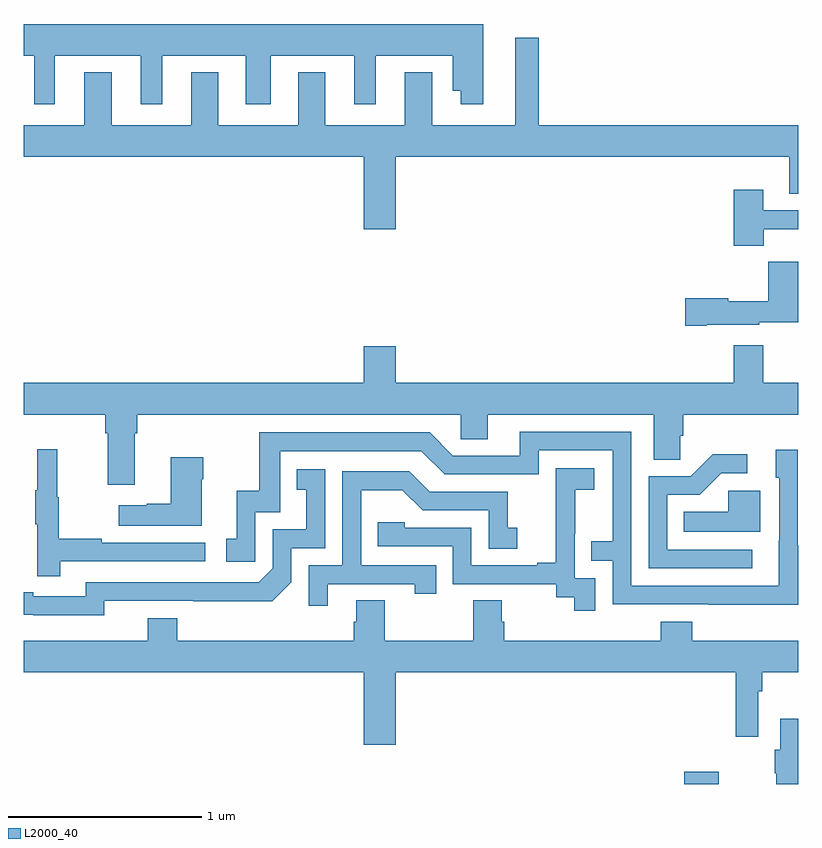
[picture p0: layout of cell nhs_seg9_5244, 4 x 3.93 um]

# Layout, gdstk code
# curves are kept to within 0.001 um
import gdstk
lib = gdstk.Library(unit=1e-6, precision=1e-09)
def R(c, l, rs):  # rectangles x0, y0, x1, y1
    for r in rs: c.add(gdstk.rectangle(r[:2], r[2:], *l))
def P(c, l, *ps):  # polygons
    for p in ps: c.add(gdstk.Polygon(p, *l))
L2000_40 = (2000, 40)

nhs_seg9_5244 = lib.new_cell('nhs_seg9_5244')
R(nhs_seg9_5244, L2000_40, [(418.412,1206.5,418.59,1206.562)])
P(nhs_seg9_5244, L2000_40, [(415.159,1210.262),(415.604,1210.262),(415.604,1210.011),(415.714,1210.011),(415.714,1210.262),(416.147,1210.262),(416.147,1210.011),(416.275,1210.011),(416.275,1210.262),(416.708,1210.262),(416.708,1210.011),(416.818,1210.011),(416.818,1210.262),(417.215,1210.262),(417.215,1210.082),(417.257,1210.082),(417.257,1210.011),(417.373,1210.011),(417.373,1210.426),(415,1210.426),(415,1210.262),(415.055,1210.262),(415.055,1210.011),(415.159,1210.011)],
  [(418.955,1209.55),(419,1209.55),(419,1209.904),(417.661,1209.904),(417.661,1210.354),(417.539,1210.354),(417.539,1209.904),(417.109,1209.904),(417.109,1210.177),(416.969,1210.177),(416.969,1209.904),(416.557,1209.904),(416.557,1210.177),(416.417,1210.177),(416.417,1209.904),(416.005,1209.904),(416.005,1210.177),(415.865,1210.177),(415.865,1209.904),(415.453,1209.904),(415.453,1210.177),(415.313,1210.177),(415.313,1209.904),(415,1209.904),(415,1209.74),(416.756,1209.74),(416.756,1209.366),(416.92,1209.366),(416.92,1209.74),(418.955,1209.74)],
  [(418.822,1209.366),(419,1209.366),(419,1209.465),(418.819,1209.465),(418.819,1209.571),(418.667,1209.571),(418.667,1209.281),(418.822,1209.281)],
  [(418.528,1208.873),(418.8,1208.873),(418.8,1208.885),(419,1208.885),(419,1209.199),(418.846,1209.199),(418.846,1208.995),(418.638,1208.995),(418.638,1209.008),(418.416,1209.008),(418.416,1208.866),(418.528,1208.866)],
  [(415,1208.408),(415.421,1208.408),(415.421,1208.312),(415.433,1208.312),(415.433,1208.046),(415.573,1208.046),(415.573,1208.312),(415.586,1208.312),(415.586,1208.408),(417.258,1208.408),(417.258,1208.281),(417.397,1208.281),(417.397,1208.408),(418.253,1208.408),(418.253,1208.176),(418.392,1208.176),(418.392,1208.299),(418.406,1208.299),(418.406,1208.408),(419,1208.408),(419,1208.572),(418.819,1208.572),(418.819,1208.767),(418.667,1208.767),(418.667,1208.572),(416.92,1208.572),(416.92,1208.761),(416.756,1208.761),(416.756,1208.572),(415,1208.572)],
  [(419,1207.733),(418.998,1207.733),(418.998,1208.227),(418.883,1208.227),(418.883,1208.082),(418.902,1208.082),(418.901,1207.524),(418.137,1207.524),(418.137,1208.319),(417.563,1208.319),(417.563,1208.196),(417.216,1208.196),(417.096,1208.316),(416.217,1208.316),(416.217,1208.014),(416.099,1208.014),(416.099,1207.767),(416.046,1207.767),(416.046,1207.647),(416.196,1207.647),(416.196,1207.905),(416.325,1207.905),(416.325,1208.22),(417.054,1208.22),(417.174,1208.1),(417.66,1208.1),(417.66,1208.223),(418.041,1208.223),(418.041,1207.754),(417.931,1207.754),(417.931,1207.653),(418.041,1207.653),(418.041,1207.428),(419,1207.427)],
  [(415.187,1207.65),(415.936,1207.65),(415.936,1207.746),(415.403,1207.746),(415.403,1207.766),(415.18,1207.766),(415.18,1207.98),(415.172,1207.98),(415.172,1208.23),(415.07,1208.23),(415.07,1208.017),(415.059,1208.017),(415.059,1207.843),(415.07,1207.843),(415.07,1207.572),(415.187,1207.572)],
  [(418.762,1207.71),(418.323,1207.71),(418.323,1207.995),(418.492,1207.995),(418.603,1208.106),(418.738,1208.106),(418.738,1208.204),(418.559,1208.204),(418.446,1208.091),(418.227,1208.091),(418.227,1207.614),(418.762,1207.614)],
  [(415.918,1208.075),(415.926,1208.075),(415.926,1208.188),(415.76,1208.188),(415.76,1207.949),(415.634,1207.949),(415.634,1207.939),(415.491,1207.939),(415.491,1207.835),(415.918,1207.835)],
  [(417.951,1207.563),(417.846,1207.563),(417.846,1207.793),(417.848,1207.793),(417.848,1208.021),(417.946,1208.021),(417.946,1208.131),(417.748,1208.131),(417.748,1207.925),(417.749,1207.925),(417.749,1207.642),(417.653,1207.642),(417.653,1207.629),(417.312,1207.629),(417.312,1207.824),(416.967,1207.824),(416.967,1207.851),(416.827,1207.851),(416.827,1207.728),(417.216,1207.728),(417.216,1207.533),(417.75,1207.533),(417.75,1207.465),(417.843,1207.465),(417.843,1207.395),(417.951,1207.395)],
  [(415.416,1207.446),(416.284,1207.445),(416.382,1207.542),(416.382,1207.719),(416.556,1207.719),(416.556,1208.125),(416.41,1208.125),(416.41,1208.019),(416.459,1208.019),(416.459,1207.815),(416.286,1207.815),(416.286,1207.614),(416.214,1207.542),(415.32,1207.542),(415.32,1207.47),(415.048,1207.47),(415.048,1207.49),(415,1207.49),(415,1207.374),(415.416,1207.373)],
  [(416.569,1207.533),(417.02,1207.533),(417.02,1207.482),(417.131,1207.482),(417.131,1207.629),(416.742,1207.629),(416.742,1208.018),(416.956,1208.018),(417.06,1207.914),(417.402,1207.914),(417.402,1207.716),(417.55,1207.716),(417.55,1207.825),(417.501,1207.825),(417.501,1208.01),(417.097,1208.01),(416.992,1208.115),(416.646,1208.115),(416.646,1207.629),(416.472,1207.629),(416.472,1207.422),(416.569,1207.422)],
  [(418.804,1208.014),(418.639,1208.014),(418.639,1207.906),(418.408,1207.906),(418.408,1207.802),(418.804,1207.802)],
  [(416.92,1207.076),(418.678,1207.076),(418.678,1206.744),(418.794,1206.744),(418.794,1206.98),(418.814,1206.98),(418.814,1207.076),(419,1207.076),(419,1207.24),(418.454,1207.24),(418.454,1207.339),(418.289,1207.339),(418.289,1207.24),(417.482,1207.24),(417.482,1207.338),(417.469,1207.338),(417.469,1207.448),(417.322,1207.448),(417.322,1207.24),(416.865,1207.24),(416.865,1207.448),(416.717,1207.448),(416.717,1207.338),(416.705,1207.338),(416.705,1207.24),(415.793,1207.24),(415.793,1207.357),(415.64,1207.357),(415.64,1207.24),(415,1207.24),(415,1207.076),(416.756,1207.076),(416.756,1206.702),(416.92,1206.702)],
  [(419,1206.838),(418.907,1206.838),(418.907,1206.678),(418.879,1206.678),(418.879,1206.556),(418.886,1206.556),(418.886,1206.5),(419,1206.5)])

lib.write_gds('nhs_seg9_5244.gds')
